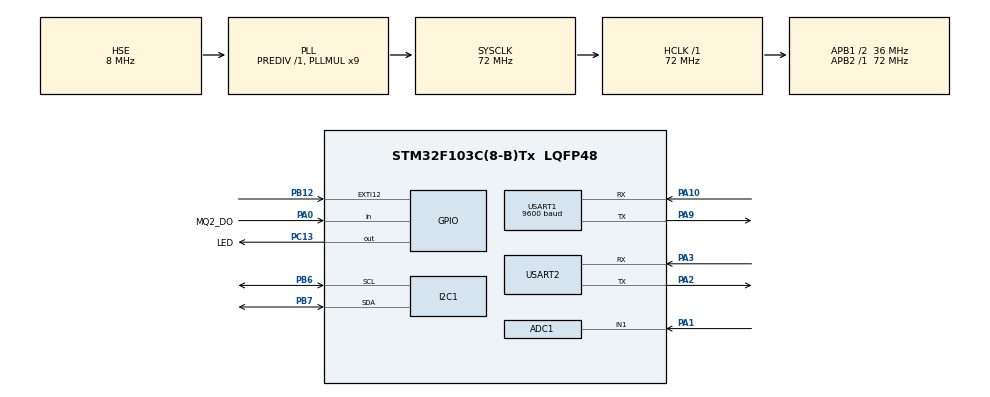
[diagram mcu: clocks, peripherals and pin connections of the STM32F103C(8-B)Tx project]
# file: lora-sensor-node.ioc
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ADC1.Channel-0\#ChannelRegularConversion=ADC_CHANNEL_1
ADC1.NbrOfConversionFlag=1
ADC1.Rank-0\#ChannelRegularConversion=1
ADC1.SamplingTime-0\#ChannelRegularConversion=ADC_SAMPLETIME_1CYCLE_5
ADC1.master=1
Mcu.Family=STM32F1
Mcu.Name=STM32F103C(8-B)Tx
Mcu.Package=LQFP48
NVIC.EXTI15_10_IRQn=true\:0\:0\:false\:false\:true\:true\:true\:true
NVIC.PriorityGroup=NVIC_PRIORITYGROUP_4
NVIC.USART1_IRQn=true\:0\:0\:false\:false\:true\:true\:true\:true
NVIC.USART2_IRQn=true\:0\:0\:false\:false\:true\:true\:true\:true
PA0-WKUP.GPIO_Label=MQ2_DO
PA0-WKUP.GPIO_PuPd=GPIO_PULLDOWN
PA0-WKUP.Signal=GPIO_Input
PA1.Signal=ADCx_IN1
PA10.Mode=Asynchronous
PA10.Signal=USART1_RX
PA13.Mode=Serial_Wire
PA13.Signal=SYS_JTMS-SWDIO
PA14.Mode=Serial_Wire
PA14.Signal=SYS_JTCK-SWCLK
PA2.Mode=Asynchronous
PA2.Signal=USART2_TX
PA3.Mode=Asynchronous
PA3.Signal=USART2_RX
PA9.Mode=Asynchronous
PA9.Signal=USART1_TX
PB12.GPIO_ModeDefaultEXTI=GPIO_MODE_IT_RISING_FALLING
PB12.GPIO_PuPd=GPIO_PULLUP
PB12.Signal=GPXTI12
PB6.Mode=I2C
PB6.Signal=I2C1_SCL
PB7.Mode=I2C
PB7.Signal=I2C1_SDA
PC13-TAMPER-RTC.GPIO_Label=LED
PC13-TAMPER-RTC.Signal=GPIO_Output
PD0-OSC_IN.Mode=HSE-External-Oscillator
PD0-OSC_IN.Signal=RCC_OSC_IN
PD1-OSC_OUT.Mode=HSE-External-Oscillator
PD1-OSC_OUT.Signal=RCC_OSC_OUT
ProjectManager.HeapSize=0x200
ProjectManager.StackSize=0x400
ProjectManager.TargetToolchain=MDK-ARM V5.27
RCC.ADCPresc=RCC_ADCPCLK2_DIV6
RCC.AHBFreq_Value=72000000
RCC.APB1CLKDivider=RCC_HCLK_DIV2
RCC.APB1Freq_Value=36000000
RCC.APB1TimFreq_Value=72000000
RCC.APB2Freq_Value=72000000
RCC.APB2TimFreq_Value=72000000
RCC.HCLKFreq_Value=72000000
RCC.PLLMUL=RCC_PLL_MUL9
RCC.PLLSourceVirtual=RCC_PLLSOURCE_HSE
RCC.SYSCLKFreq_VALUE=72000000
RCC.SYSCLKSource=RCC_SYSCLKSOURCE_PLLCLK
RCC.USBFreq_Value=72000000
SH.ADCx_IN1.0=ADC1_IN1,IN1
USART1.BaudRate=9600
USART1.VirtualMode=VM_ASYNC
USART2.VirtualMode=VM_ASYNC
board=custom

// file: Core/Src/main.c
/* USER CODE BEGIN Header */
/**
  ******************************************************************************
  * @file           : main.c
  * @brief          : Main program body
  ******************************************************************************
  * @attention
  *
  * Copyright (c) 2026 STMicroelectronics.
  * All rights reserved.
  *
  * This software is licensed under terms that can be found in the LICENSE file
  * in the root directory of this software component.
  * If no LICENSE file comes with this software, it is provided AS-IS.
  *
  ******************************************************************************
  */
/* USER CODE END Header */
#include "main.h"
#include "adc.h"
#include "i2c.h"
#include "usart.h"
#include "gpio.h"

/* USER CODE BEGIN Includes */
#include "bsp_sht30.h"
#include "bsp_mq2.h"
#include "bsp_door.h"
#include "bsp_mpu6050.h"
#include "bsp_lora.h"
#include "protocol.h"
#include "stdio.h"

/* USER CODE END Includes */

void SystemClock_Config(void);

/* USER CODE BEGIN 0 */

int fputc(int ch, FILE *f)
{
    HAL_UART_Transmit(&huart2, (uint8_t *)&ch, 1, HAL_MAX_DELAY);
    return ch;
}
/* USER CODE END 0 */

int main(void)
{

  /* MCU Configuration--------------------------------------------------------*/

  /* Reset of all peripherals, Initializes the Flash interface and the Systick. */
  HAL_Init();

  /* Configure the system clock */
  SystemClock_Config();

  /* Initialize all configured peripherals */
  MX_GPIO_Init();
  MX_USART1_UART_Init();
  MX_USART2_UART_Init();
  MX_I2C1_Init();
  MX_ADC1_Init();
  /* USER CODE BEGIN 2 */

  SHT30_Init();
  Door_Init();
  Door_SetCallback(Door_Event_Handler);
  MPU6050_Init();
  LoRa_Init();
  HAL_Delay(100); // 等待传感器稳定

  /* USER CODE END 2 */

  /* Infinite loop */
  /* USER CODE BEGIN WHILE */
  while (1)
  {

    sht30_data_t sht30;
    mpu6050_accel_t accel;
    mpu6050_angle_t angle;
    uint32_t mq2_adc;
    uint8_t mq2_alarm;
    door_state_t door_state;
    sensor_frame_t frame = {0};

    // 采集数据
    if (SHT30_ReadData(&sht30) != HAL_OK) {
        sht30.temperature = 0;
        sht30.humidity = 0;
    }
    mq2_adc = MQ2_GetADCValue();
    mq2_alarm = MQ2_GetAlarmState();
    door_state = Door_GetState();
    if (MPU6050_ReadAccel(&accel) == HAL_OK) {
        MPU6050_ComputeAngle(&accel, &angle);
    } else {
        angle.pitch = 0;
        angle.roll = 0;
    }

    // 填充帧头
    frame.header = 0xAA;
    frame.node_id = NODE_ID;
    frame.length = 14;
    frame.temperature = (int16_t)(sht30.temperature * 100);
    frame.humidity = (uint16_t)(sht30.humidity * 100);
    frame.smoke_adc = mq2_adc;
    frame.door_state = door_state;
    frame.alarm_flags = (mq2_alarm ? 0x01 : 0x00) |
                        ((door_state == DOOR_OPEN) ? 0x02 : 0x00) |
                        (MPU6050_DetectFreeFall(&accel, 0.6f) ? 0x04 : 0x00);
    frame.pitch = (int16_t)(angle.pitch * 100);
    frame.roll = (int16_t)(angle.roll * 100);

    // 打印调试信息
    printf("Temp:%.2f Hum:%.2f MQ2:%lu Alarm:%d Door:%d Pitch:%.2f Roll:%.2f\r\n",
           sht30.temperature, sht30.humidity, mq2_adc, mq2_alarm,
           door_state, angle.pitch, angle.roll);

    // 发送数据帧
    Protocol_SendFrame(&frame);

    HAL_GPIO_TogglePin(LED_GPIO_Port, LED_Pin);
    HAL_Delay(2000);
    /* USER CODE END WHILE */

  }
}

void SystemClock_Config(void)
{
  RCC_OscInitTypeDef RCC_OscInitStruct = {0};
  RCC_ClkInitTypeDef RCC_ClkInitStruct = {0};
  RCC_PeriphCLKInitTypeDef PeriphClkInit = {0};

  /** Initializes the RCC Oscillators according to the specified parameters
  * in the RCC_OscInitTypeDef structure.
  */
  RCC_OscInitStruct.OscillatorType = RCC_OSCILLATORTYPE_HSE;
  RCC_OscInitStruct.HSEState = RCC_HSE_ON;
  RCC_OscInitStruct.HSEPredivValue = RCC_HSE_PREDIV_DIV1;
  RCC_OscInitStruct.HSIState = RCC_HSI_ON;
  RCC_OscInitStruct.PLL.PLLState = RCC_PLL_ON;
  RCC_OscInitStruct.PLL.PLLSource = RCC_PLLSOURCE_HSE;
  RCC_OscInitStruct.PLL.PLLMUL = RCC_PLL_MUL9;
  if (HAL_RCC_OscConfig(&RCC_OscInitStruct) != HAL_OK)
  {
    Error_Handler();
  }

  /** Initializes the CPU, AHB and APB buses clocks
  */
  RCC_ClkInitStruct.ClockType = RCC_CLOCKTYPE_HCLK|RCC_CLOCKTYPE_SYSCLK
                              |RCC_CLOCKTYPE_PCLK1|RCC_CLOCKTYPE_PCLK2;
  RCC_ClkInitStruct.SYSCLKSource = RCC_SYSCLKSOURCE_PLLCLK;
  RCC_ClkInitStruct.AHBCLKDivider = RCC_SYSCLK_DIV1;
  RCC_ClkInitStruct.APB1CLKDivider = RCC_HCLK_DIV2;
  RCC_ClkInitStruct.APB2CLKDivider = RCC_HCLK_DIV1;

  if (HAL_RCC_ClockConfig(&RCC_ClkInitStruct, FLASH_LATENCY_2) != HAL_OK)
  {
    Error_Handler();
  }
  PeriphClkInit.PeriphClockSelection = RCC_PERIPHCLK_ADC;
  PeriphClkInit.AdcClockSelection = RCC_ADCPCLK2_DIV6;
  if (HAL_RCCEx_PeriphCLKConfig(&PeriphClkInit) != HAL_OK)
  {
    Error_Handler();
  }
}

/* USER CODE BEGIN 4 */

void Door_Event_Handler(door_state_t state) {
    // 这里可以放置报警逻辑，或发送消息到网关
    // 目前仅打印，已在驱动中实现
}

/* USER CODE END 4 */

void Error_Handler(void)
{
  __disable_irq();
  while (1)
  {
  }
}
